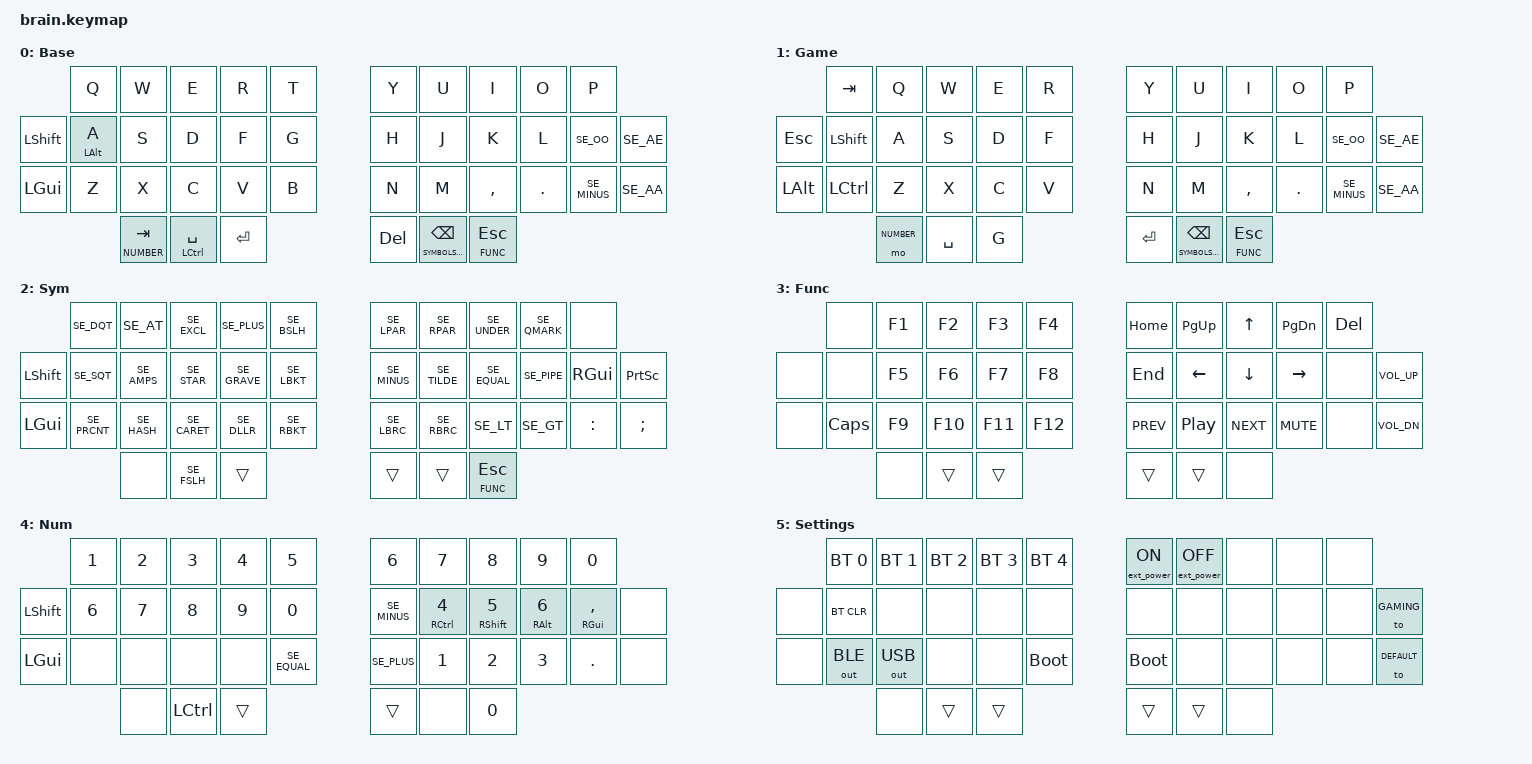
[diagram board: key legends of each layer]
/*
 * Copyright (c) 2020 The ZMK Contributors
 *
 * SPDX-License-Identifier: MIT
 */

#include <behaviors.dtsi>
#include <dt-bindings/zmk/keys.h>
#include <dt-bindings/zmk/bt.h>
#include <dt-bindings/zmk/outputs.h>
#include <dt-bindings/zmk/ext_power.h>
#include "swe_keys.h"

#define DEFAULT     0
#define GAMING      1
#define SYMBOLS_SWE 2
#define FUNC        3
#define NUMBER      4
#define SETTINGS    5

/ {
    behaviors {
        hm: homerow_mods {
            compatible = "zmk,behavior-hold-tap";
            label = "HOMEROW_MODS";
            #binding-cells = <2>;
            tapping-term-ms = <200>;
            quick-tap-ms = <175>;
            flavor = "tap-preferred";
            bindings = <&kp>, <&kp>;
        };
        hs: homerow_mods_slow {
            compatible = "zmk,behavior-hold-tap";
            label = "HOMEROW_MODS_SLOW";
            #binding-cells = <2>;
            tapping-term-ms = <300>;
            quick-tap-ms = <175>;
            flavor = "tap-preferred";
            bindings = <&kp>, <&kp>;
        };
    };
    cond_layers {
        compatible = "zmk,conditional-layers";
        // Define SETTINGS layer as tri-state
        func_tristate {
            if-layers = <SYMBOLS_SWE FUNC>;
            then-layer = <SETTINGS>;
        };
    };

/*           40 Keys
╭─────────────────╮ ╭─────────────────╮
│    0  1  2  3  4│ │ 5  6  7  8  9   │
│10 11 12 13 14 15│ │16 17 18 19 20 21│
│22 23 24 25 26 27│ │28 29 30 31 32 33│
╰────────╮34 35 36│ │37 38 39╭────────╯
         ╰────────╯ ╰────────╯       */
    combos {
        compatible = "zmk,combos";

        combo_esc {
            timeout-ms = <50>;
            key-positions = <0 1>;
            bindings = <&kp ESC>;
        };
        combo_tab {
            timeout-ms = <50>;
            key-positions = <10 11>;
            bindings = <&kp TAB>;
        };
        combo_ralt {
            timeout-ms = <50>;
            key-positions = <16 17>;
            bindings = <&kp RALT>;
        };
        combo_lalt {
            timeout-ms = <50>;
            key-positions = <11 12>;
            bindings = <&kp LALT>;
        };
        combo_lgui {
            timeout-ms = <50>;
            key-positions = <12 13>;
            bindings = <&kp LGUI>;
        };
        combo_rgui {
            timeout-ms = <50>;
            key-positions = <17 18>;
            bindings = <&kp RGUI>;
        };
    };

    keymap {
        compatible = "zmk,keymap";

        default_layer {
            display-name = "Base";
            bindings = <
                                 &kp Q       &kp W       &kp E         &kp R           &kp T                        &kp Y        &kp U        &kp I         &kp O       &kp P
            &kp LSHIFT           &hs LALT A  &kp S       &kp D         &kp F           &kp G                        &kp H        &kp J        &kp K         &kp L       &kp SE_OO      &kp SE_AE
            &kp LGUI             &kp Z       &kp X       &kp C         &kp V           &kp B                        &kp N        &kp M        &kp COMMA     &kp DOT     &kp SE_MINUS   &kp SE_AA
                                                  &lt NUMBER TAB  &hm LCTRL SPACE  &kp ENTER                        &kp DEL  &lt SYMBOLS_SWE BSPC  &lt FUNC ESC
            >;
        };

        gaming_layer {
            display-name = "Game";
            bindings = <
                                 &kp TAB    &kp Q   &kp W   &kp E      &kp R                      &kp Y        &kp U        &kp I         &kp O       &kp P
            &kp ESC              &kp LSHIFT &kp A   &kp S   &kp D      &kp F                      &kp H        &kp J        &kp K         &kp L       &kp SE_OO      &kp SE_AE
            &kp LALT             &kp LCTRL  &kp Z   &kp X   &kp C      &kp V                      &kp N        &kp M        &kp COMMA     &kp DOT     &kp SE_MINUS   &kp SE_AA
                                              &mo NUMBER  &kp SPACE  &kp G                        &kp ENTER  &lt SYMBOLS_SWE BSPC  &lt FUNC ESC
            >;
        };

        symbols_swe_layer {
            display-name = "Sym";
            bindings = <
                                 &kp SE_DQT       &kp SE_AT         &kp SE_EXCL         &kp SE_PLUS         &kp SE_BSLH             &kp SE_LPAR   &kp SE_RPAR         &kp SE_UNDER         &kp SE_QMARK      &none
            &kp LSHIFT           &kp SE_SQT       &kp SE_AMPS       &kp SE_STAR         &kp SE_GRAVE        &kp SE_LBKT             &kp SE_MINUS  &kp SE_TILDE        &kp SE_EQUAL         &kp SE_PIPE       &kp RGUI  &kp PSCRN
            &kp LGUI             &kp SE_PRCNT     &kp SE_HASH       &kp SE_CARET        &kp SE_DLLR         &kp SE_RBKT             &kp SE_LBRC   &kp SE_RBRC         &kp SE_LT            &kp SE_GT         &kp COLON &kp SEMI
                                                                                       &none  &kp SE_FSLH  &trans             &trans  &trans        &lt FUNC ESC
            >;
        };

        func_layer {
            display-name = "Func";
            bindings = <
                   &none     &kp F1  &kp F2   &kp F3   &kp F4                    &kp HOME    &kp PG_UP  &kp UP      &kp PG_DN   &kp DEL
            &none  &none     &kp F5  &kp F6   &kp F7   &kp F8                    &kp END     &kp LEFT   &kp DOWN    &kp RIGHT   &none    &kp C_VOL_UP
            &none  &kp CAPS  &kp F9  &kp F10  &kp F11  &kp F12                   &kp C_PREV  &kp C_PP   &kp C_NEXT  &kp K_MUTE  &none    &kp C_VOL_DN
                                              &none    &trans   &trans   &trans  &trans      &none
            >;
        };

        number_layer {
            display-name = "Num";
            bindings = <
                        &kp N1       &kp N2      &kp N3         &kp N4        &kp N5                         &kp N6        &kp N7        &kp N8         &kp N9       &kp N0
            &kp LSHIFT  &kp N6       &kp N7      &kp N8         &kp N9        &kp N0                         &kp SE_MINUS  &hm RCTRL N4  &hm RSHIFT N5  &hm RALT N6  &hm RGUI COMMA  &none
            &kp LGUI    &none        &none       &none          &none         &kp SE_EQUAL                   &kp SE_PLUS   &kp N1        &kp N2         &kp N3       &kp DOT         &none
                                                           &none &kp LCTRL       &trans                   &trans  &none         &kp N0
            >;
        };

        settings_layer {
            display-name = "Settings";
            bindings = <
                   &bt BT_SEL 0  &bt BT_SEL 1  &bt BT_SEL 2  &bt BT_SEL 3  &bt BT_SEL 4                   &ext_power EP_ON  &ext_power EP_OFF  &none  &none  &none
            &none  &bt BT_CLR    &none         &none         &none         &none                          &none             &none              &none  &none  &none  &to GAMING
            &none  &out OUT_BLE  &out OUT_USB  &none         &none         &bootloader                    &bootloader       &none              &none  &none  &none  &to DEFAULT
                                                             &none         &trans        &trans   &trans  &trans            &none
            >;
        };
    };
};

